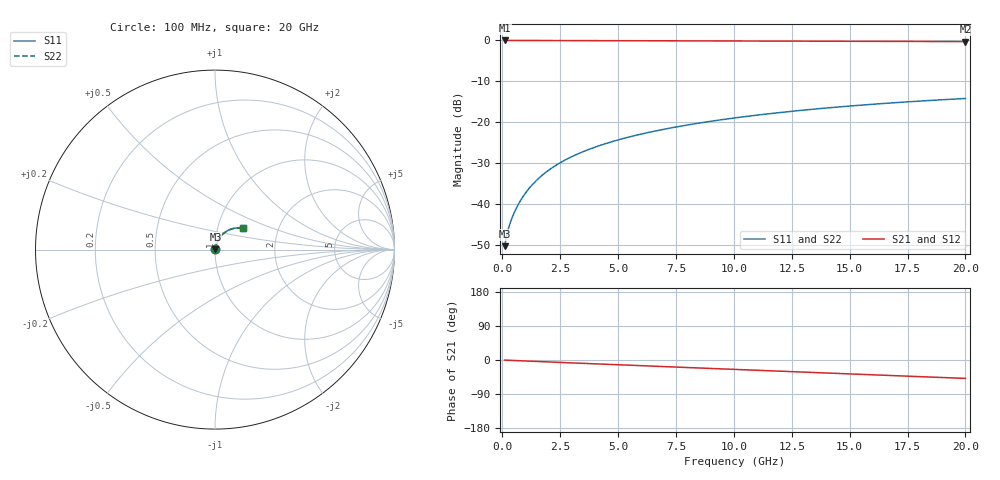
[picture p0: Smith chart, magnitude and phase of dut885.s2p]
! Touchstone file exported from HFSS 2026.1.0
!  File:  C:/ffzhzh/LocalFiles/Ansys_Project_Files/temp_train_TMRDL_885_1783157553_43440.aedt
!  Generated:  05:33:50 PM Jul  4, 2026
!  Design:  TMRDL
!  Project:  temp_train_TMRDL_885_1783157553_43440
! Variables:
!  h_bsmrdl = 2um
!  h_ox = 20um
!  h_rdl = 5um
!  h_sub = 80um
!  h_tmrdl = 4.72um
!  h_tsv = 80um
!  h_via = 3um
!  l_bsmrdl = 300um
!  l_sub = 1232.49um
!  l_tmrdl = 832.49um
!  m_sub = 200um
!  pitch = 40.78um
!  r_tsv = 6um
!  s_tmrdl = 10um
!  w_bsmrdl = 18um
!  w_sub = 500um
!  w_tmrdl = 28.83um
!  x_tsv_center1 = 846.905um
!  x_tsv_center2 = 1164.905um
!  x_tsv_center3 = 2026.225um
!  x_tsv_center4 = 2344.225um
!  x_tsv_center5 = 3205.545um
!  x_tsv_center6 = 3523.545um
# GHz S MA R 50.000000
! Terminal data exported
! Port[1] = TM_RDL1_1_T1
! Port[2] = TM_RDL1_1_T2
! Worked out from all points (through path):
!   200 points, 100 MHz to 20 GHz, reference 50 ohm
!   highest |S21| = -0.02 dB at 100 MHz (marker M1); lowest = -0.3 dB at 20 GHz (marker M2)
!   group delay of S21, straight-line fit = 6.73 ps
!   lowest |S11| = -50.4 dB at 100 MHz (marker M3), VSWR 1.01, Z = 50.2 + j0.172 ohm
!   |S11| at or under -10 dB: start of sweep to end of sweep
!   |S22| runs from -50.4 to -14.2 dB; largest |S21 - S12| = 2.3e-14
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0.1  0.00302 34.5  0.9975 -0.3  0.9975 -0.3  0.00302 34.5
! Gamma 0 0 0 0
! Port Impedance 50 0 50 0
0.2  0.004226 47.6  0.9972 -0.5  0.9972 -0.5  0.004226 47.6
0.3  0.005367 54.4  0.9969 -0.8  0.9969 -0.8  0.005367 54.4
0.4  0.006478 59.1  0.9968 -1.1  0.9968 -1.1  0.006478 59.1
0.5  0.0076 62.7  0.9967 -1.3  0.9967 -1.3  0.0076 62.7
0.6  0.008743 65.4  0.9966 -1.6  0.9966 -1.6  0.008744 65.4
0.8  0.01109 69.3  0.9964 -2.1  0.9964 -2.1  0.01109 69.3
1  0.01349 71.6  0.9963 -2.6  0.9963 -2.6  0.01349 71.6
1.2  0.01592 73.1  0.9961 -3.1  0.9961 -3.1  0.01592 73.1
1.4  0.01837 74.0  0.9959 -3.6  0.9959 -3.6  0.01837 74.0
1.7  0.02204 74.8  0.9956 -4.3  0.9956 -4.3  0.02204 74.8
2.2  0.02812 75.0  0.995 -5.6  0.995 -5.6  0.02812 75.0
2.8  0.0353 74.5  0.9942 -7.1  0.9942 -7.1  0.0353 74.5
3.5  0.04349 73.4  0.9932 -8.9  0.9932 -8.9  0.04349 73.4
4.2  0.05148 72.1  0.9921 -10.6  0.9921 -10.6  0.05149 72.0
5  0.06039 70.4  0.9908 -12.6  0.9908 -12.6  0.0604 70.4
6.8  0.07971 66.7  0.9879 -17.0  0.9879 -17.0  0.07971 66.6
8.3  0.09514 63.4  0.9855 -20.6  0.9855 -20.6  0.09515 63.4
10.1  0.1129 59.5  0.9827 -25.0  0.9827 -25.0  0.1129 59.5
13.4  0.1434 52.3  0.9772 -32.9  0.9772 -32.9  0.1434 52.2
16.7  0.1706 44.9  0.9717 -40.8  0.9717 -40.8  0.1706 44.9
20  0.1943 37.5  0.9664 -48.6  0.9664 -48.6  0.1944 37.5
